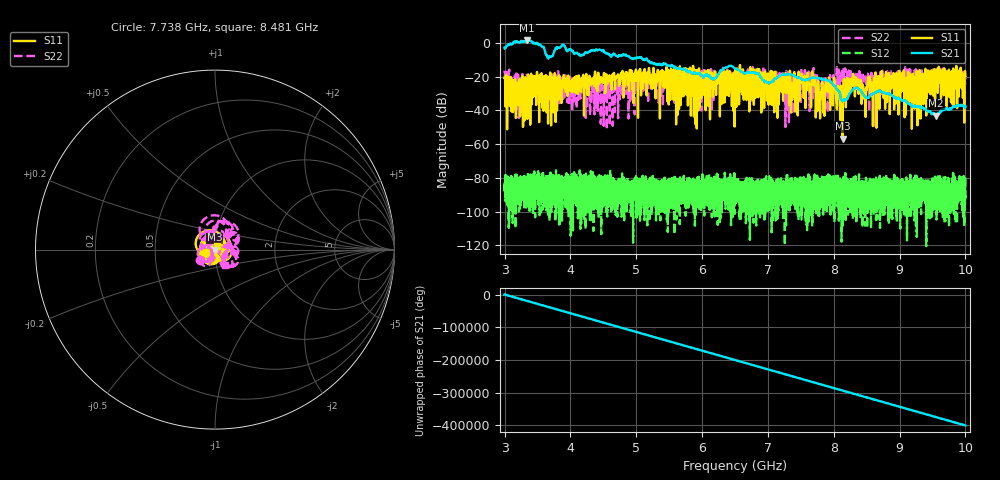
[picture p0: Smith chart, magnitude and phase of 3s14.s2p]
!Agilent Technologies,E8363B,MY43030572,A.06.04.32
!Agilent E8363B: A.06.04.32
!Date: Monday, June 06, 2011 14:41:43
!Correction: S11(Full 2 Port(1,2)) S21(Full 2 Port(1,2)) S12(Full 2 Port(1,2)) S22(Full 2 Port(1,2))
!S2P File: Measurements: S11, S21, S12, S22:
# Hz S  dB  R 50
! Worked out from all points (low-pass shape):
!   6401 points, 3 GHz to 10 GHz, reference 50 ohm
!   highest |S21| = 1.47 dB at 3.345 GHz (marker M1); lowest = -43.1 dB at 9.554 GHz (marker M2)
!   |S21| within 3 dB of the highest: 3.038 GHz to 3.55 GHz (511.4 MHz wide, 15.5 % of centre); 3.871 GHz to 3.905 GHz (33.47 MHz wide, 0.861 % of centre)
!   lowest |S11| = -56.6 dB at 8.134 GHz (marker M3), VSWR 1.00, Z = 49.9 - j0.0951 ohm
!   |S11| at or under -10 dB: start of sweep to end of sweep
!   |S22| runs from -51.3 to -14.3 dB; largest |S21 - S12| = 1.2
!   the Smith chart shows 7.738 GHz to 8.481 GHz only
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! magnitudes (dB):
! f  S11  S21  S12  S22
! 3 GHz  -20.8  -2.7  -82.7  -16.5
! 3.345 GHz  -39.0  1.5  -79.4  -23.7
! 3.68 GHz  -33.0  -7.8  -85.7  -20.7
! 3.883 GHz  -24.4  -1.0  -85.4  -23.9
! 4.167 GHz  -22.4  -7.2  -83.7  -24.2
! 4.648 GHz  -21.2  -6.4  -87.4  -29.1
! 5.131 GHz  -16.2  -10.0  -87.6  -19.3
! 5.334 GHz  -19.3  -12.5  -88.3  -30.2
! 6.165 GHz  -32.1  -21.4  -91.2  -20.4
! 6.5 GHz  -19.1  -15.1  -90.0  -21.7
! 7.005 GHz  -21.3  -23.4  -99.0  -21.7
! 7.352 GHz  -29.0  -18.6  -84.9  -20.5
! 7.667 GHz  -17.9  -20.8  -91.9  -18.8
! 7.761 GHz  -22.4  -20.7  -88.8  -22.0
! 7.904 GHz  -26.9  -22.2  -91.0  -30.3
! 8.134 GHz  -56.6  -34.5  -83.6  -23.2
! 8.275 GHz  -22.6  -28.1  -91.6  -19.8
! 8.455 GHz  -27.3  -31.0  -91.7  -21.7
! 8.543 GHz  -20.1  -31.8  -92.1  -23.9
! 8.834 GHz  -19.4  -29.9  -89.9  -20.8
! 9.554 GHz  -16.5  -43.1  -89.2  -18.8
! 10 GHz  -19.3  -37.6  -91.5  -19.5
